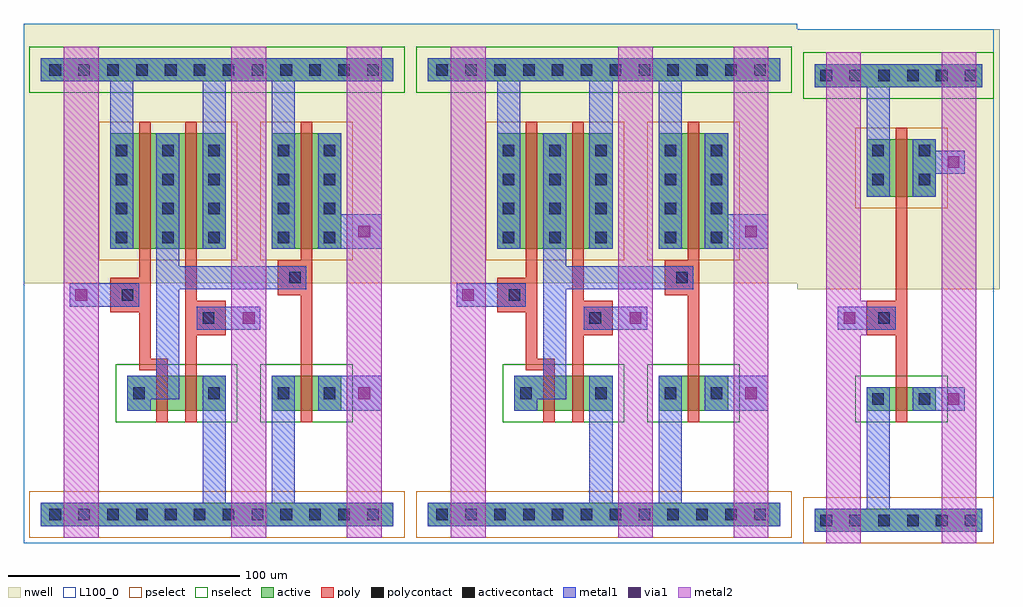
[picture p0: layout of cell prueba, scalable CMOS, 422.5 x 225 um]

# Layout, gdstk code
import gdstk
lib = gdstk.Library(unit=1e-6, precision=1e-09)
def R(c, l, rs):  # rectangles x0, y0, x1, y1
    for r in rs: c.add(gdstk.rectangle(r[:2], r[2:], *l))
def A(c, l, x, y, w, h, nx, ny, dx, dy):  # array of equal rectangles
    R(c, l, [(x+i*dx, y+j*dy, x+i*dx+w, y+j*dy+h) for i in range(nx) for j in range(ny)])
nwell = (42, 0)
active = (43, 0)
pselect = (44, 0)
nselect = (45, 0)
poly = (46, 0)
polycontact = (47, 0)
activecontact = (48, 0)
metal1 = (49, 0)
via1 = (50, 0)
metal2 = (51, 0)
L100_0 = (100, 0)

and2x1 = lib.new_cell('AND2X1')
R(and2x1, nwell, [(0,110,167.5,222.5)])
R(and2x1, active, [(7.5,5,160,15), (45,55,87.5,70), (107.5,55,137.5,70), (37.5,125,87.5,175), (107.5,125,137.5,175), (7.5,197.5,160,207.5)])
R(and2x1, pselect, [(2.5,0,165,20), (32.5,120,92.5,180), (102.5,120,142.5,180)])
R(and2x1, nselect, [(40,50,92.5,75), (102.5,50,142.5,75), (2.5,192.5,165,212.5)])
R(and2x1, poly, [(57.5,50,62.5,72.5), (70,50,75,87.5), (120,50,125,105), (50,72.5,62.5,77.5), (50,77.5,55,97.5), (70,87.5,87.5,102.5), (37.5,97.5,55,112.5), (70,102.5,75,180), (110,105,125,120), (50,112.5,55,180), (120,120,125,180)])
R(and2x1, polycontact, [(77.5,92.5,82.5,97.5), (42.5,102.5,47.5,107.5), (115,110,120,115)])
A(and2x1, activecontact, 11.25, 7.5, 5, 5, 12, 2, 12.5, 192.5)
A(and2x1, activecontact, 40, 127.5, 5, 5, 3, 4, 20, 12.5)
A(and2x1, activecontact, 110, 127.5, 5, 5, 1, 4, 0, 12.5)
A(and2x1, activecontact, 130, 127.5, 5, 5, 1, 4, 0, 12.5)
R(and2x1, activecontact, [(47.5,60,52.5,65), (80,60,85,65), (110,60,115,65), (130,60,135,65)])
R(and2x1, metal1, [(7.5,5,160,15), (77.5,15,87.5,70), (107.5,15,117.5,70), (45,55,55,60), (127.5,55,155,70), (45,60,67.5,70), (57.5,70,67.5,107.5), (75,90,102.5,100), (20,100,50,110), (57.5,107.5,122.5,117.5), (57.5,117.5,67.5,175), (37.5,125,47.5,197.5), (77.5,125,87.5,197.5), (107.5,125,117.5,197.5), (127.5,125,155,140), (127.5,140,137.5,175), (7.5,197.5,160,207.5)])
R(and2x1, via1, [(145,60,150,65), (95,92.5,100,97.5), (22.5,102.5,27.5,107.5), (145,130,150,135)])
R(and2x1, metal2, [(17.5,0,32.5,212.5), (90,0,105,212.5), (140,0,155,212.5)])
R(and2x1, L100_0, [(0,-2.5,167.5,222.5)])
and2x1.add(gdstk.Label('A', (25,90), layer=51, texttype=1))
and2x1.add(gdstk.Label('B', (97.5,82.5), layer=51, texttype=1))
and2x1.add(gdstk.Label('Out', (147.5,85), layer=51, texttype=1))
and2x1.add(gdstk.Label('VDD', (80,202.5), layer=49, texttype=1))
and2x1.add(gdstk.Label('GND', (80,10), layer=49, texttype=1))

inverter = lib.new_cell('Inverter')
R(inverter, nwell, [(0,110,87.5,112.5), (0,112.5,87.5,215), (7.5,112.5,80,190), (0,190,87.5,215), (0,215,87.5,222.5)])
R(inverter, active, [(7.5,5,80,15), (30,57.5,60,67.5), (30,150,60,175), (7.5,197.5,80,207.5)])
R(inverter, pselect, [(2.5,0,85,20), (25,145,65,180)])
R(inverter, nselect, [(25,52.5,65,72.5), (2.5,192.5,85,212.5)])
R(inverter, poly, [(42.5,52.5,47.5,90), (30,90,47.5,105), (42.5,105,47.5,180)])
R(inverter, polycontact, [(35,95,40,100)])
A(inverter, activecontact, 10, 7.5, 5, 5, 6, 2, 12.5, 192.5)
R(inverter, activecontact, [(32.5,60,37.5,65), (52.5,60,57.5,65), (32.5,155,37.5,160), (52.5,155,57.5,160), (32.5,167.5,37.5,172.5), (52.5,167.5,57.5,172.5)])
R(inverter, metal1, [(7.5,5,80,15), (30,15,40,67.5), (50,57.5,72.5,67.5), (17.5,92.5,42.5,102.5), (30,150,40,197.5), (50,150,60,160), (50,160,72.5,170), (50,170,60,175), (7.5,197.5,80,207.5)])
R(inverter, via1, [(65,60,70,65), (20,95,25,100), (65,162.5,70,167.5)])
R(inverter, metal2, [(12.5,0,27.5,90), (62.5,0,77.5,212.5), (12.5,90,30,105), (12.5,105,27.5,212.5)])
R(inverter, L100_0, [(0,0,85,222.5)])
inverter.add(gdstk.Label('A', (20,85), layer=51, texttype=1))
inverter.add(gdstk.Label('Out', (67.5,95), layer=51, texttype=1))
inverter.add(gdstk.Label('VDD', (45,202.5), layer=49, texttype=1))
inverter.add(gdstk.Label('GND', (45,10), layer=49, texttype=1))

prueba = lib.new_cell('prueba')
prueba.add(gdstk.Reference(and2x1, (0,0)))
prueba.add(gdstk.Reference(and2x1, (167.5,0)))
prueba.add(gdstk.Reference(inverter, (335,-2.5)))

lib.write_gds('prueba.gds')
